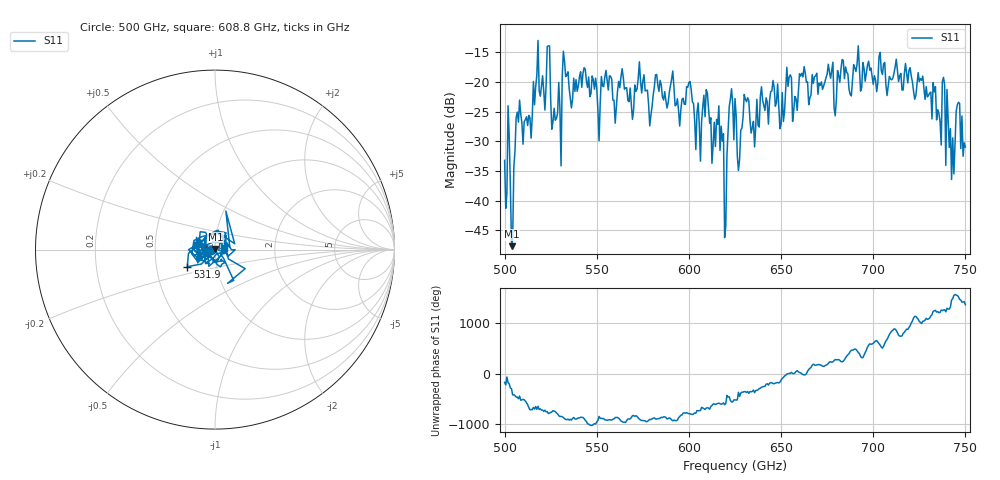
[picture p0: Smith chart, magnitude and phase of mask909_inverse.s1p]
!Created with skrf (http://scikit-rf.org).
# GHz S MA R 50.0
!freq magS11 angS11
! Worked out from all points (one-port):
!   401 points, 500 GHz to 750 GHz, reference 50 ohm
!   lowest |S11| = -47.7 dB at 503.8 GHz (marker M1), VSWR 1.01, Z = 50.2 + j0.37 ohm
!   |S11| at or under -10 dB: start of sweep to end of sweep
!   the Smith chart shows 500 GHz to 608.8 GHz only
!   S11 on the Smith chart (normalised r, x): 500 GHz: 0.96, -0.01; 531.9 GHz: 0.72, -0.14; 608.8 GHz: 1.10, +0.02
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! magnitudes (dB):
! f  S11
! 500 GHz  -33.2
! 503.8 GHz  -47.7
! 507.5 GHz  -26.8
! 513.8 GHz  -26.0
! 516.9 GHz  -20.8
! 523.8 GHz  -14.0
! 526.9 GHz  -24.4
! 531.2 GHz  -19.2
! 531.9 GHz  -14.8
! 562.5 GHz  -21.0
! 593.8 GHz  -22.9
! 600 GHz  -20.1
! 605 GHz  -23.5
! 608.8 GHz  -25.9
! 617.5 GHz  -27.5
! 619.4 GHz  -46.2
! 622.5 GHz  -22.9
! 625 GHz  -22.8
! 627.5 GHz  -33.0
! 631.2 GHz  -23.3
! 635 GHz  -26.7
! 656.2 GHz  -26.7
! 687.5 GHz  -22.1
! 718.8 GHz  -20.2
! 738.8 GHz  -20.6
! 742.5 GHz  -36.4
! 746.9 GHz  -23.7
! 750 GHz  -31.0
